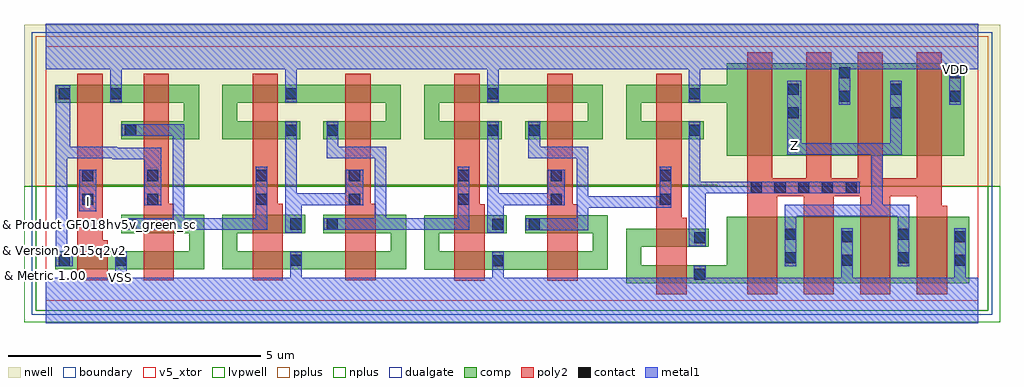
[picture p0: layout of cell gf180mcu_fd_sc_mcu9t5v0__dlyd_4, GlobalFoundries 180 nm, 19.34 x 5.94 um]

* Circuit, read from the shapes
.subckt gf180mcu_fd_sc_mcu9t5v0__dlyd_4 I VDD VSS Z
XM1 VSS I n1 VSUBS nfet_05v0 w=0.36u l=0.6u
XM2 n2 n1 VSS VSUBS nfet_05v0 w=0.36u l=0.6u
XM3 n2 n1 n3 VSUBS nfet_05v0 w=0.36u l=0.6u
XM4 VSS n3 n4 VSUBS nfet_05v0 w=0.36u l=0.6u
XM5 n5 n3 n4 VSUBS nfet_05v0 w=0.36u l=0.6u
XM6 n6 n5 VSS VSUBS nfet_05v0 w=0.36u l=0.6u
XM7 n6 n5 n7 VSUBS nfet_05v0 w=0.36u l=0.6u
XM8 VSS n7 n8 VSUBS nfet_05v0 w=0.36u l=0.6u
XM9 n9 n7 n8 VSUBS nfet_05v0 w=0.36u l=0.6u
XM10 n10 n9 VSS VSUBS nfet_05v0 w=0.36u l=0.6u
XM11 n10 n9 n11 VSUBS nfet_05v0 w=0.36u l=0.6u
XM12 VSS n11 n12 VSUBS nfet_05v0 w=0.36u l=0.6u
XM13 n13 n11 n12 VSUBS nfet_05v0 w=0.36u l=0.6u
XM14 Z n13 VSS VSUBS nfet_05v0 w=1.32u l=0.6u m=4
XM15 VDD I n1 n14 pfet_05v0 w=0.36u l=0.5u
XM16 n15 n1 n3 n14 pfet_05v0 w=0.36u l=0.5u
XM17 n15 n1 VDD n14 pfet_05v0 w=0.36u l=0.5u
XM18 n5 n3 n16 n14 pfet_05v0 w=0.36u l=0.5u
XM19 VDD n3 n16 n14 pfet_05v0 w=0.36u l=0.5u
XM20 n17 n5 n7 n14 pfet_05v0 w=0.36u l=0.5u
XM21 n17 n5 VDD n14 pfet_05v0 w=0.36u l=0.5u
XM22 n9 n7 n18 n14 pfet_05v0 w=0.36u l=0.5u
XM23 VDD n7 n18 n14 pfet_05v0 w=0.36u l=0.5u
XM24 n19 n9 n11 n14 pfet_05v0 w=0.36u l=0.5u
XM25 n19 n9 VDD n14 pfet_05v0 w=0.36u l=0.5u
XM26 n13 n11 n20 n14 pfet_05v0 w=0.36u l=0.5u
XM27 VDD n11 n20 n14 pfet_05v0 w=0.36u l=0.5u
XM28 Z n13 VDD n14 pfet_05v0 w=1.83u l=0.5u m=4
.ends

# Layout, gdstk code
import gdstk
lib = gdstk.Library(unit=1e-6, precision=1e-09)
def R(c, l, rs):  # rectangles x0, y0, x1, y1
    for r in rs: c.add(gdstk.rectangle(r[:2], r[2:], *l))
def A(c, l, x, y, w, h, nx, ny, dx, dy):  # array of equal rectangles
    R(c, l, [(x+i*dx, y+j*dy, x+i*dx+w, y+j*dy+h) for i in range(nx) for j in range(ny)])
def P(c, l, *ps):  # polygons
    for p in ps: c.add(gdstk.Polygon(p, *l))
boundary = (0, 0)
nwell = (21, 0)
comp = (22, 0)
poly2 = (30, 0)
pplus = (31, 0)
nplus = (32, 0)
contact = (33, 0)
metal1 = (34, 0)
dualgate = (55, 0)
v5_xtor = (112, 1)
lvpwell = (204, 0)

gf180mcu_fd_sc_mcu9t5v0_ = lib.new_cell('gf180mcu_fd_sc_mcu9t5v0__dlyd_4')
R(gf180mcu_fd_sc_mcu9t5v0_, boundary, [(0,0,18.48,5.04)])
P(gf180mcu_fd_sc_mcu9t5v0_, nwell, [(-0.43,2.265),(-0.43,5.47),(18.91,5.47),(18.91,2.265),(13.31,2.265),(13.31,2.3),(0.43,2.3),(0.43,2.265)])
P(gf180mcu_fd_sc_mcu9t5v0_, comp, [(1.5,3.2),(1.5,3.56),(2.74,3.56),(2.74,3.92),(0.19,3.92),(0.19,4.28),(3.04,4.28),(3.04,3.2)],
  [(0.19,0.62),(0.19,0.98),(2.84,0.98),(2.84,1.34),(1.5,1.34),(1.5,1.7),(3.14,1.7),(3.14,0.62)],
  [(3.5,3.2),(3.5,4.28),(7.04,4.28),(7.04,3.2),(5.5,3.2),(5.5,3.56),(6.74,3.56),(6.74,3.92),(3.8,3.92),(3.8,3.56),(5.04,3.56),(5.04,3.2)],
  [(3.5,0.62),(3.5,1.7),(5.14,1.7),(5.14,1.34),(3.8,1.34),(3.8,0.98),(6.84,0.98),(6.84,1.34),(5.5,1.34),(5.5,1.7),(7.14,1.7),(7.14,0.62)],
  [(7.5,3.2),(7.5,4.28),(11.04,4.28),(11.04,3.2),(9.5,3.2),(9.5,3.56),(10.74,3.56),(10.74,3.92),(7.8,3.92),(7.8,3.56),(9.04,3.56),(9.04,3.2)],
  [(7.5,0.615),(7.5,1.695),(9.14,1.695),(9.14,1.335),(7.8,1.335),(7.8,0.975),(10.84,0.975),(10.84,1.335),(9.5,1.335),(9.5,1.695),(11.14,1.695),(11.14,0.615)],
  [(13.5,2.87),(13.5,3.92),(11.8,3.92),(11.8,3.56),(13.04,3.56),(13.04,3.2),(11.5,3.2),(11.5,4.28),(13.5,4.28),(13.5,4.7),(18.2,4.7),(18.2,2.87)],
  [(11.5,0.345),(11.5,1.425),(13.14,1.425),(13.14,1.065),(11.8,1.065),(11.8,0.705),(13.5,0.705),(13.5,1.665),(18.3,1.665),(18.3,0.345)])
P(gf180mcu_fd_sc_mcu9t5v0_, poly2, [(0.63,0.4),(0.63,4.5),(1.13,4.5),(1.13,1.2),(1.23,1.2),(1.23,0.4)],
  [(1.94,0.4),(1.94,4.5),(2.44,4.5),(2.44,1.92),(2.54,1.92),(2.54,0.4)],
  [(4.1,0.4),(4.1,4.5),(4.6,4.5),(4.6,1.92),(4.7,1.92),(4.7,0.4)],
  [(5.94,0.4),(5.94,4.5),(6.44,4.5),(6.44,1.92),(6.54,1.92),(6.54,0.4)],
  [(8.1,0.395),(8.1,4.5),(8.6,4.5),(8.6,1.915),(8.7,1.915),(8.7,0.395)],
  [(9.94,0.395),(9.94,4.5),(10.44,4.5),(10.44,1.915),(10.54,1.915),(10.54,0.395)],
  [(12.1,0.125),(12.1,4.5),(12.6,4.5),(12.6,1.645),(12.7,1.645),(12.7,0.125)],
  [(13.9,0.125),(13.9,4.92),(14.4,4.92),(14.4,2.425),(15.07,2.425),(15.07,4.92),(15.57,4.92),(15.57,2.425),(16.09,2.425),(16.09,4.92),(16.59,4.92),(16.59,2.425),(17.26,2.425),(17.26,4.92),(17.76,4.92),(17.76,1.885),(17.86,1.885),(17.86,0.125),(17.26,0.125),(17.26,2.065),(16.74,2.065),(16.74,0.125),(16.14,0.125),(16.14,2.065),(15.62,2.065),(15.62,0.125),(15.02,0.125),(15.02,2.065),(14.5,2.065),(14.5,0.125)])
R(gf180mcu_fd_sc_mcu9t5v0_, pplus, [(-0.2,2.265,18.68,5.24)])
R(gf180mcu_fd_sc_mcu9t5v0_, nplus, [(-0.2,-0.2,18.68,2.265)])
A(gf180mcu_fd_sc_mcu9t5v0_, contact, 13.97, 2.135, 0.22, 0.22, 5, 1, 0.47, 0)
A(gf180mcu_fd_sc_mcu9t5v0_, contact, 4.75, 3.99, 0.22, 0.22, 3, 1, 4, 0)
R(gf180mcu_fd_sc_mcu9t5v0_, contact, [(12.85,0.415,13.07,0.635), (8.85,0.685,9.07,0.905), (0.26,0.69,0.48,0.91), (1.38,0.69,1.6,0.91), (4.85,0.69,5.07,0.91), (15.77,0.69,15.99,0.91), (18.01,0.69,18.23,0.91), (14.65,0.74,14.87,0.96), (16.89,0.74,17.11,0.96), (12.85,1.135,13.07,1.355), (15.77,1.16,15.99,1.38), (18.01,1.16,18.23,1.38), (14.65,1.21,14.87,1.43), (16.89,1.21,17.11,1.43), (8.85,1.405,9.07,1.625), (9.57,1.405,9.79,1.625), (1.57,1.41,1.79,1.63), (4.85,1.41,5.07,1.63), (5.57,1.41,5.79,1.63), (0.72,1.9,0.94,2.12), (2.01,1.9,2.23,2.12), (4.17,1.9,4.39,2.12), (6.01,1.9,6.23,2.12), (8.17,1.9,8.39,2.12), (10.01,1.9,10.23,2.12), (12.17,1.9,12.39,2.12), (0.72,2.37,0.94,2.59), (2.01,2.37,2.23,2.59), (4.17,2.37,4.39,2.59), (6.01,2.37,6.23,2.59), (8.17,2.37,8.39,2.59), (10.01,2.37,10.23,2.59), (12.17,2.37,12.39,2.59), (1.57,3.27,1.79,3.49), (4.75,3.27,4.97,3.49), (5.57,3.27,5.79,3.49), (8.75,3.27,8.97,3.49), (9.57,3.27,9.79,3.49), (12.75,3.27,12.97,3.49), (14.7,3.61,14.92,3.83), (16.74,3.61,16.96,3.83), (15.72,3.94,15.94,4.16), (17.91,3.94,18.13,4.16), (0.26,3.99,0.48,4.21), (1.28,3.99,1.5,4.21), (14.7,4.08,14.92,4.3), (16.74,4.08,16.96,4.3), (15.72,4.41,15.94,4.63), (17.91,4.41,18.13,4.63)])
R(gf180mcu_fd_sc_mcu9t5v0_, metal1, [(0.66,1.77,1,2.595)])
P(gf180mcu_fd_sc_mcu9t5v0_, metal1, [(0.2,0.685),(0.2,4.27),(0.485,4.27),(0.485,3.055),(1.415,3.055),(1.415,3.035),(2.29,3.035),(2.29,1.895),(1.95,1.895),(1.95,2.805),(1.32,2.805),(1.32,2.825),(0.43,2.825),(0.43,0.915),(0.54,0.915),(0.54,0.685)],
  [(1.51,1.405),(1.51,1.635),(2.52,1.635),(2.52,3.265),(1.51,3.265),(1.51,3.495),(2.75,3.495),(2.75,1.635),(4.165,1.635),(4.165,2.65),(4.395,2.65),(4.395,1.405)],
  [(4.745,1.35),(4.745,3.55),(4.975,3.55),(4.975,2.125),(5.95,2.125),(5.95,2.595),(6.29,2.595),(6.29,1.895),(5.075,1.895),(5.075,1.35)],
  [(5.51,1.405),(5.51,1.635),(6.52,1.635),(6.52,2.825),(5.565,2.825),(5.565,3.55),(5.795,3.55),(5.795,3.055),(6.75,3.055),(6.75,1.635),(8.165,1.635),(8.165,2.65),(8.395,2.65),(8.395,1.405)],
  [(8.745,1.345),(8.745,3.55),(8.975,3.55),(8.975,2.125),(9.95,2.125),(9.95,2.595),(10.29,2.595),(10.29,1.895),(9.075,1.895),(9.075,1.345)],
  [(9.51,1.4),(9.51,1.63),(10.52,1.63),(10.52,2.825),(9.565,2.825),(9.565,3.55),(9.795,3.55),(9.795,3.055),(10.75,3.055),(10.75,2.07),(12.165,2.07),(12.165,2.65),(12.395,2.65),(12.395,1.84),(10.75,1.84),(10.75,1.4)],
  [(12.745,1.075),(12.745,3.55),(12.975,3.55),(12.975,2.36),(16.13,2.36),(16.13,2.13),(13.075,2.13),(13.075,1.075)],
  [(14.645,0.68),(14.645,1.9),(16.36,1.9),(16.36,2.89),(14.695,2.89),(14.695,4.36),(14.97,4.36),(14.97,3.12),(16.735,3.12),(16.735,4.36),(16.965,4.36),(16.965,2.89),(16.59,2.89),(16.59,1.9),(17.115,1.9),(17.115,0.68),(16.885,0.68),(16.885,1.67),(14.875,1.67),(14.875,0.68)],
  [(0,-0.45),(0,0.45),(1.375,0.45),(1.375,0.97),(1.605,0.97),(1.605,0.45),(4.845,0.45),(4.845,0.97),(5.075,0.97),(5.075,0.45),(8.845,0.45),(8.845,0.965),(9.075,0.965),(9.075,0.45),(12.845,0.45),(12.845,0.695),(13.075,0.695),(13.075,0.45),(15.765,0.45),(15.765,1.44),(15.995,1.44),(15.995,0.45),(18.005,0.45),(18.005,1.44),(18.235,1.44),(18.235,0.45),(18.48,0.45),(18.48,-0.45)],
  [(15.715,3.88),(15.715,4.59),(12.975,4.59),(12.975,3.93),(12.745,3.93),(12.745,4.59),(8.975,4.59),(8.975,3.93),(8.745,3.93),(8.745,4.59),(4.975,4.59),(4.975,3.93),(4.745,3.93),(4.745,4.59),(1.505,4.59),(1.505,3.93),(1.275,3.93),(1.275,4.59),(0,4.59),(0,5.49),(18.48,5.49),(18.48,4.59),(18.135,4.59),(18.135,3.88),(17.905,3.88),(17.905,4.59),(15.945,4.59),(15.945,3.88)])
R(gf180mcu_fd_sc_mcu9t5v0_, dualgate, [(-0.28,-0.28,18.76,5.32)])
R(gf180mcu_fd_sc_mcu9t5v0_, v5_xtor, [(0,0,18.48,5.04)])
P(gf180mcu_fd_sc_mcu9t5v0_, lvpwell, [(-0.43,-0.43),(-0.43,2.265),(0.43,2.265),(0.43,2.3),(13.31,2.3),(13.31,2.265),(18.91,2.265),(18.91,-0.43)])
gf180mcu_fd_sc_mcu9t5v0_.add(gdstk.Label('I', (0.84,1.96), layer=34, texttype=10))
gf180mcu_fd_sc_mcu9t5v0_.add(gdstk.Label('VDD', (18.02,4.59), layer=34, texttype=10))
gf180mcu_fd_sc_mcu9t5v0_.add(gdstk.Label('VSS', (1.49,0.45), layer=34, texttype=10))
gf180mcu_fd_sc_mcu9t5v0_.add(gdstk.Label('Z', (14.84,3.08), layer=34, texttype=10))
gf180mcu_fd_sc_mcu9t5v0_.add(gdstk.Label('& Vendor GLOBALFOUNDRIES', (0,2), layer=63, texttype=63))
gf180mcu_fd_sc_mcu9t5v0_.add(gdstk.Label('& Product GF018hv5v_green_sc9', (0,1.5), layer=63, texttype=63))
gf180mcu_fd_sc_mcu9t5v0_.add(gdstk.Label('& Version 2015q2v2', (0,1), layer=63, texttype=63))
gf180mcu_fd_sc_mcu9t5v0_.add(gdstk.Label('& Metric 1.00', (0,0.5), layer=63, texttype=63))

lib.write_gds('gf180mcu_fd_sc_mcu9t5v0__dlyd_4.gds')
